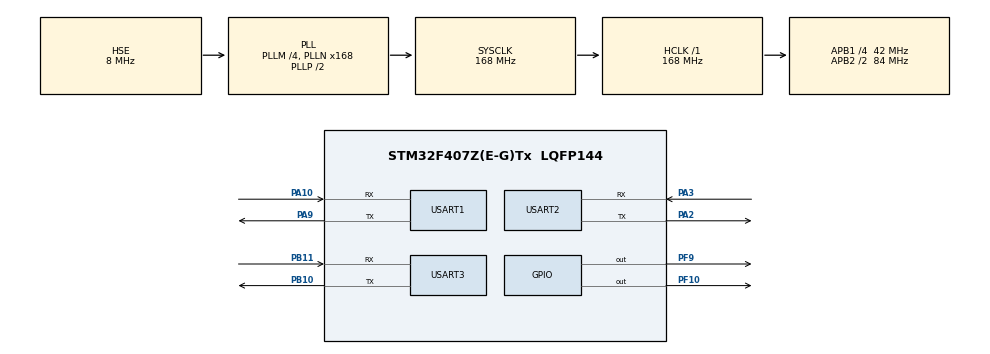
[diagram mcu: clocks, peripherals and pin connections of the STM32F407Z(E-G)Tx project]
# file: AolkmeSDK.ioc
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FREERTOS.Tasks01=defaultTask,24,128,StartDefaultTask,Default,NULL,Dynamic,NULL,NULL;LEDTask,8,128,led_Task,Default,NULL,Dynamic,NULL,NULL
FREERTOS.configTOTAL_HEAP_SIZE=0x10000
Mcu.Family=STM32F4
Mcu.Name=STM32F407Z(E-G)Tx
Mcu.Package=LQFP144
NVIC.PriorityGroup=NVIC_PRIORITYGROUP_4
NVIC.TIM1_UP_TIM10_IRQn=true\:15\:0\:false\:false\:true\:false\:false\:true\:true
NVIC.TimeBase=TIM1_UP_TIM10_IRQn
NVIC.TimeBaseIP=TIM10
NVIC.USART1_IRQn=true\:5\:0\:false\:false\:true\:true\:true\:true\:true
NVIC.USART2_IRQn=true\:5\:0\:false\:false\:true\:true\:true\:true\:true
NVIC.USART3_IRQn=true\:5\:0\:false\:false\:true\:true\:true\:true\:true
PA10.Mode=Asynchronous
PA10.Signal=USART1_RX
PA13.Mode=Serial_Wire
PA13.Signal=SYS_JTMS-SWDIO
PA14.Mode=Serial_Wire
PA14.Signal=SYS_JTCK-SWCLK
PA2.Mode=Asynchronous
PA2.Signal=USART2_TX
PA3.Mode=Asynchronous
PA3.Signal=USART2_RX
PA9.Mode=Asynchronous
PA9.Signal=USART1_TX
PB10.Mode=Asynchronous
PB10.Signal=USART3_TX
PB11.Mode=Asynchronous
PB11.Signal=USART3_RX
PF10.GPIO_Speed=GPIO_SPEED_FREQ_HIGH
PF10.Signal=GPIO_Output
PF9.GPIO_Speed=GPIO_SPEED_FREQ_HIGH
PF9.Signal=GPIO_Output
PH0-OSC_IN.Mode=HSE-External-Oscillator
PH0-OSC_IN.Signal=RCC_OSC_IN
PH1-OSC_OUT.Mode=HSE-External-Oscillator
PH1-OSC_OUT.Signal=RCC_OSC_OUT
ProjectManager.HeapSize=0x1000
ProjectManager.StackSize=0x1000
ProjectManager.TargetToolchain=MDK-ARM V5.32
RCC.48MHZClocksFreq_Value=84000000
RCC.AHBFreq_Value=168000000
RCC.APB1CLKDivider=RCC_HCLK_DIV4
RCC.APB1Freq_Value=42000000
RCC.APB1TimFreq_Value=84000000
RCC.APB2CLKDivider=RCC_HCLK_DIV2
RCC.APB2Freq_Value=84000000
RCC.APB2TimFreq_Value=168000000
RCC.CortexFreq_Value=168000000
RCC.HCLKFreq_Value=168000000
RCC.HSE_VALUE=8000000
RCC.HSI_VALUE=16000000
RCC.LSE_VALUE=32768
RCC.PLLM=4
RCC.PLLN=168
RCC.PLLSourceVirtual=RCC_PLLSOURCE_HSE
RCC.SYSCLKFreq_VALUE=168000000
RCC.SYSCLKSource=RCC_SYSCLKSOURCE_PLLCLK
RCC.VCOOutputFreq_Value=336000000
USART1.VirtualMode=VM_ASYNC
USART2.VirtualMode=VM_ASYNC
USART3.VirtualMode=VM_ASYNC
VP_FREERTOS_VS_CMSIS_V2.Mode=CMSIS_V2
VP_SYS_VS_tim10.Mode=TIM10
board=custom

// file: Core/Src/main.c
/* USER CODE BEGIN Header */
/**
  ******************************************************************************
  * @file           : main.c
  * @brief          : Main program body
  ******************************************************************************
  * @attention
  *
  * Copyright (c) 2025 STMicroelectronics.
  * All rights reserved.
  *
  * This software is licensed under terms that can be found in the LICENSE file
  * in the root directory of this software component.
  * If no LICENSE file comes with this software, it is provided AS-IS.
  *
  ******************************************************************************
  */
/* USER CODE END Header */
#include "main.h"
#include "cmsis_os.h"
#include "usart.h"
#include "gpio.h"

/* USER CODE BEGIN Includes */
#include <stdio.h>
/* USER CODE END Includes */

void SystemClock_Config(void);
void MX_FREERTOS_Init(void);

/* USER CODE BEGIN 0 */

int fputc(int ch, FILE *f)

{

  HAL_UART_Transmit(&huart2, (uint8_t *)&ch, 1, 0xffff);

  return ch;

}

#define APP_BASE_ADDRESS 0x08010000

/* USER CODE END 0 */

int main(void)
{

  /* USER CODE BEGIN 1 */
	SCB->VTOR = APP_BASE_ADDRESS;
  /* USER CODE END 1 */

  /* MCU Configuration--------------------------------------------------------*/

  /* Reset of all peripherals, Initializes the Flash interface and the Systick. */
  HAL_Init();

  /* Configure the system clock */
  SystemClock_Config();

  /* Initialize all configured peripherals */
  MX_GPIO_Init();
  MX_USART1_UART_Init();
  MX_USART2_UART_Init();
  MX_USART3_UART_Init();

  /* Init scheduler */
  osKernelInitialize();

  /* Call init function for freertos objects (in cmsis_os2.c) */
  MX_FREERTOS_Init();

  /* Start scheduler */
  osKernelStart();

  /* We should never get here as control is now taken by the scheduler */

  /* Infinite loop */
  while (1)
  {

  }
}

void SystemClock_Config(void)
{
  RCC_OscInitTypeDef RCC_OscInitStruct = {0};
  RCC_ClkInitTypeDef RCC_ClkInitStruct = {0};

  /** Configure the main internal regulator output voltage
  */
  __HAL_RCC_PWR_CLK_ENABLE();
  __HAL_PWR_VOLTAGESCALING_CONFIG(PWR_REGULATOR_VOLTAGE_SCALE1);

  /** Initializes the RCC Oscillators according to the specified parameters
  * in the RCC_OscInitTypeDef structure.
  */
  RCC_OscInitStruct.OscillatorType = RCC_OSCILLATORTYPE_HSE;
  RCC_OscInitStruct.HSEState = RCC_HSE_ON;
  RCC_OscInitStruct.PLL.PLLState = RCC_PLL_ON;
  RCC_OscInitStruct.PLL.PLLSource = RCC_PLLSOURCE_HSE;
  RCC_OscInitStruct.PLL.PLLM = 4;
  RCC_OscInitStruct.PLL.PLLN = 168;
  RCC_OscInitStruct.PLL.PLLP = RCC_PLLP_DIV2;
  RCC_OscInitStruct.PLL.PLLQ = 4;
  if (HAL_RCC_OscConfig(&RCC_OscInitStruct) != HAL_OK)
  {
    Error_Handler();
  }

  /** Initializes the CPU, AHB and APB buses clocks
  */
  RCC_ClkInitStruct.ClockType = RCC_CLOCKTYPE_HCLK|RCC_CLOCKTYPE_SYSCLK
                              |RCC_CLOCKTYPE_PCLK1|RCC_CLOCKTYPE_PCLK2;
  RCC_ClkInitStruct.SYSCLKSource = RCC_SYSCLKSOURCE_PLLCLK;
  RCC_ClkInitStruct.AHBCLKDivider = RCC_SYSCLK_DIV1;
  RCC_ClkInitStruct.APB1CLKDivider = RCC_HCLK_DIV4;
  RCC_ClkInitStruct.APB2CLKDivider = RCC_HCLK_DIV2;

  if (HAL_RCC_ClockConfig(&RCC_ClkInitStruct, FLASH_LATENCY_5) != HAL_OK)
  {
    Error_Handler();
  }
}

void HAL_TIM_PeriodElapsedCallback(TIM_HandleTypeDef *htim)
{
  if (htim->Instance == TIM10) {
    HAL_IncTick();
  }
}

void Error_Handler(void)
{
  __disable_irq();
  while (1)
  {
  }
}

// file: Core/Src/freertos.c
/* USER CODE BEGIN Header */
/**
  ******************************************************************************
  * File Name          : freertos.c
  * Description        : Code for freertos applications
  ******************************************************************************
  * @attention
  *
  * Copyright (c) 2025 STMicroelectronics.
  * All rights reserved.
  *
  * This software is licensed under terms that can be found in the LICENSE file
  * in the root directory of this software component.
  * If no LICENSE file comes with this software, it is provided AS-IS.
  *
  ******************************************************************************
  */
/* USER CODE END Header */

#include "FreeRTOS.h"
#include "task.h"
#include "main.h"
#include "cmsis_os.h"
#include "Aolkme_logger.h"
/* USER CODE BEGIN Includes */

#include "application.h"
/* USER CODE END Includes */

/* Definitions for defaultTask */
osThreadId_t defaultTaskHandle;
const osThreadAttr_t defaultTask_attributes = {
  .name = "defaultTask",
  .stack_size = 128 * 4,
  .priority = (osPriority_t) osPriorityNormal,
};
/* Definitions for LEDTask */
osThreadId_t LEDTaskHandle;
const osThreadAttr_t LEDTask_attributes = {
  .name = "LEDTask",
  .stack_size = 128 * 4,
  .priority = (osPriority_t) osPriorityLow,
};

/* USER CODE BEGIN FunctionPrototypes */
osThreadId_t UserStartTaskHandle;
const osThreadAttr_t UserStartTask_attributes = {
	.name = "start_task",
	.stack_size = 2048,
	.priority = (osPriority_t) osPriorityNormal,
};

/* USER CODE END FunctionPrototypes */

void StartDefaultTask(void *argument);
void led_Task(void *argument);

void MX_FREERTOS_Init(void); /* (MISRA C 2004 rule 8.1) */

void MX_FREERTOS_Init(void) {

  /* Create the thread(s) */
  /* creation of defaultTask */
  defaultTaskHandle = osThreadNew(StartDefaultTask, NULL, &defaultTask_attributes);

  /* creation of LEDTask */
  LEDTaskHandle = osThreadNew(led_Task, NULL, &LEDTask_attributes);

  /* USER CODE BEGIN RTOS_THREADS */
  UserStartTaskHandle = osThreadNew(AolkmeUser_StartTask, NULL, &UserStartTask_attributes);

  /* add threads, ... */
  /* USER CODE END RTOS_THREADS */

}

void StartDefaultTask(void *argument)
{
  for(;;)
  {
    osDelay(1);
  }
}

void led_Task(void *argument)
{
  /* USER CODE BEGIN led_Task */
//	ALOG_INFO("free"," is running");
  /* Infinite loop */
  for(;;)
  {
	  HAL_GPIO_TogglePin(GPIOF, GPIO_PIN_10);
    osDelay(100);
  }
  /* USER CODE END led_Task */
}
